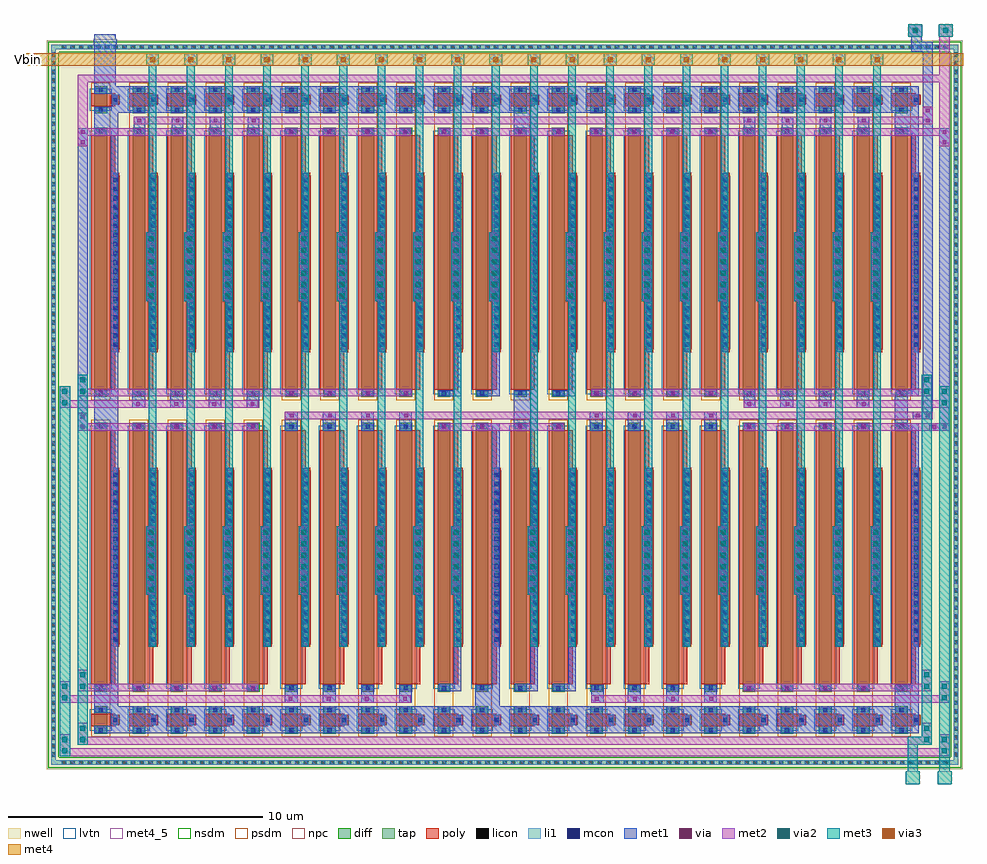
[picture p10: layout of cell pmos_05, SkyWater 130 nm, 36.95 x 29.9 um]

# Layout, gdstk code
from math import pi, radians
import gdstk
lib = gdstk.Library(unit=1e-6, precision=1e-09)
def R(c, l, rs):  # rectangles x0, y0, x1, y1
    for r in rs: c.add(gdstk.rectangle(r[:2], r[2:], *l))
def A(c, l, x, y, w, h, nx, ny, dx, dy):  # array of equal rectangles
    R(c, l, [(x+i*dx, y+j*dy, x+i*dx+w, y+j*dy+h) for i in range(nx) for j in range(ny)])
nwell = (64, 20)
diff = (65, 20)
tap = (65, 44)
poly = (66, 20)
licon = (66, 44)
li1 = (67, 20)
mcon = (67, 44)
met1 = (68, 20)
via = (68, 44)
met2 = (69, 20)
via2 = (69, 44)
met3 = (70, 20)
via3 = (70, 44)
met4_5 = (71, 5)
met4 = (71, 20)
nsdm = (93, 44)
psdm = (94, 20)
npc = (95, 20)
lvtn = (125, 44)

sky130_fd_pr__pfet_01v8_ = lib.new_cell('sky130_fd_pr__pfet_01v8_lvt_RSMGKB')
R(sky130_fd_pr__pfet_01v8_, nwell, [(-0.72,-0.74,0.72,0.57)])
R(sky130_fd_pr__pfet_01v8_, diff, [(-0.54,-0.43,0.54,0.07)])
R(sky130_fd_pr__pfet_01v8_, poly, [(-0.25,-0.56,0.25,0.39), (-0.2,0.39,0.2,0.555)])
R(sky130_fd_pr__pfet_01v8_, licon, [(-0.48,-0.265,-0.31,-0.095), (0.31,-0.265,0.48,-0.095), (-0.085,0.305,0.085,0.475)])
R(sky130_fd_pr__pfet_01v8_, li1, [(-0.48,-0.395,-0.31,0.035), (0.31,-0.395,0.48,0.035), (-0.2,0.305,0.2,0.475)])
R(sky130_fd_pr__pfet_01v8_, mcon, [(-0.48,-0.265,-0.31,-0.095), (0.31,-0.265,0.48,-0.095), (-0.085,0.305,0.085,0.475)])
R(sky130_fd_pr__pfet_01v8_, met1, [(-0.51,-0.375,-0.28,0.015), (0.28,-0.375,0.51,0.015), (-0.18,0.275,0.18,0.505)])
R(sky130_fd_pr__pfet_01v8_, psdm, [(-0.665,-0.555,0.665,0.195)])
R(sky130_fd_pr__pfet_01v8_, npc, [(-0.185,0.205,0.185,0.575)])
R(sky130_fd_pr__pfet_01v8_, lvtn, [(-0.43,-0.61,0.43,0.25)])

c_sky130_fd_pr__pfet_01v8_ = lib.new_cell('sky130_fd_pr__pfet_01v8_lvt_RSW4TG')
R(c_sky130_fd_pr__pfet_01v8_, nwell, [(-5.47,-0.74,5.47,0.57)])
R(c_sky130_fd_pr__pfet_01v8_, diff, [(-5.29,-0.43,5.29,0.07)])
R(c_sky130_fd_pr__pfet_01v8_, poly, [(-5,-0.56,5,0.39), (-3.525,0.39,3.525,0.555)])
A(c_sky130_fd_pr__pfet_01v8_, licon, -3.315, 0.305, 0.17, 0.17, 20, 1, 0.34, 0)
R(c_sky130_fd_pr__pfet_01v8_, licon, [(-5.23,-0.265,-5.06,-0.095), (5.06,-0.265,5.23,-0.095)])
R(c_sky130_fd_pr__pfet_01v8_, li1, [(-5.23,-0.395,-5.06,0.035), (5.06,-0.395,5.23,0.035), (-3.525,0.305,3.525,0.475)])
A(c_sky130_fd_pr__pfet_01v8_, mcon, -3.325, 0.305, 0.17, 0.17, 19, 1, 0.36, 0)
R(c_sky130_fd_pr__pfet_01v8_, mcon, [(-5.23,-0.265,-5.06,-0.095), (5.06,-0.265,5.23,-0.095)])
R(c_sky130_fd_pr__pfet_01v8_, met1, [(-5.26,-0.375,-5.03,0.015), (5.03,-0.375,5.26,0.015), (-3.505,0.275,3.505,0.505)])
R(c_sky130_fd_pr__pfet_01v8_, psdm, [(-5.415,-0.555,5.415,0.195)])
R(c_sky130_fd_pr__pfet_01v8_, npc, [(-3.415,0.205,3.415,0.575)])
R(c_sky130_fd_pr__pfet_01v8_, lvtn, [(-5.18,-0.61,5.18,0.25)])

pmos_05 = lib.new_cell('pmos_05')
R(pmos_05, nwell, [(32.235,-3.45,32.785,-2.95), (33.485,-3.45,34.035,-2.95), (-1.565,-2.865,34.465,25.815), (0.285,25.815,1.185,25.85), (32.335,25.95,32.885,26.45), (33.535,25.95,34.085,26.45)])
R(pmos_05, tap, [(-1.385,-2.685,34.285,-2.515), (-1.385,-2.515,-1.215,25.465), (34.115,-2.515,34.285,25.465), (-1.385,25.465,34.285,25.635)])
A(pmos_05, licon, -0.975, -2.685, 0.17, 0.17, 103, 2, 0.34, 28.15)
A(pmos_05, licon, -1.385, -2.38, 0.17, 0.17, 1, 82, 0, 0.34)
A(pmos_05, licon, 34.115, -2.38, 0.17, 0.17, 1, 82, 0, 0.34)
R(pmos_05, li1, [(-1.385,-2.685,34.285,-2.515), (-1.385,-2.515,-1.215,25.465), (34.115,-2.515,34.285,25.465), (-1.385,25.465,34.285,25.635)])
A(pmos_05, met1, 7.8, -0.25, 0.5, 0.7, 4, 1, 1.5, 0)
A(pmos_05, met1, 21.3, -0.25, 0.5, 0.7, 3, 1, 1.5, 0)
A(pmos_05, met1, 1.8, 0.2, 0.45, 0.3, 4, 2, 1.5, 10.25)
A(pmos_05, met1, 25.85, 0.2, 0.45, 0.3, 4, 2, 1.5, 10.25)
A(pmos_05, met1, 2.35, 4, 0.4, 2.7, 9, 1, 1.5, 0)
A(pmos_05, met1, 17.35, 4, 0.4, 2.7, 10, 1, 1.5, 0)
A(pmos_05, met1, 7.8, 10.45, 0.5, 0.75, 4, 1, 1.5, 0)
A(pmos_05, met1, 19.8, 10.45, 0.5, 0.75, 4, 1, 1.5, 0)
A(pmos_05, met1, 1.8, 11.35, 0.5, 0.75, 4, 1, 1.5, 0)
A(pmos_05, met1, 27.3, 11.35, 0.5, 0.75, 3, 1, 1.5, 0)
A(pmos_05, met1, 7.85, 11.8, 0.45, 0.3, 4, 1, 1.5, 0)
A(pmos_05, met1, 19.85, 11.8, 0.45, 0.3, 4, 1, 1.5, 0)
A(pmos_05, met1, 2.35, 15.55, 0.4, 2.7, 10, 1, 1.5, 0)
A(pmos_05, met1, 18.85, 15.55, 0.4, 2.7, 9, 1, 1.5, 0)
A(pmos_05, met1, 1.85, 22.05, 0.45, 0.75, 4, 1, 1.5, 0)
A(pmos_05, met1, 7.8, 22.05, 0.45, 0.3, 4, 1, 1.5, 0)
A(pmos_05, met1, 19.8, 22.05, 0.45, 0.3, 4, 1, 1.5, 0)
A(pmos_05, met1, 25.85, 22.05, 0.45, 0.75, 4, 1, 1.5, 0)
R(pmos_05, met1, [(0.3,-1.45,32.75,-1.15), (0.95,-1.15,32.75,-0.65), (0.3,-0.65,32.75,-0.4), (0.3,-0.4,1.25,0.45), (15.3,-0.4,16.25,0.45), (31.8,-0.4,32.75,0.45), (19.85,-0.25,20.35,0.45), (13.85,0.2,14.75,0.5), (16.85,0.2,17.75,0.5), (18.35,0.2,19.25,0.5), (0.95,0.45,1.25,10.45), (15.95,0.45,16.25,10.45), (32.45,0.45,32.75,10.5), (14.45,0.5,14.75,4), (17.45,0.5,17.75,4), (18.95,0.5,19.25,4), (-0.35,10.45,0.05,22.35), (0.3,10.45,1.25,11.85), (13.85,10.45,14.3,10.75), (15.35,10.45,16.25,10.75), (16.8,10.45,17.75,12.05), (18.35,10.45,18.8,10.75), (31.8,10.45,32.3,10.5), (33.15,10.45,33.95,10.75), (31.8,10.5,32.75,10.75), (31.8,10.75,32.3,11.8), (33.55,10.75,33.95,22.35), (32.5,10.9,33.3,11.2), (32.9,11.2,33.3,25.35), (25.85,11.35,26.3,12.1), (13.85,11.8,14.75,12.05), (15.35,11.8,16.25,12.05), (18.35,11.8,19.25,12.05), (31.8,11.8,32.75,11.85), (0.35,11.85,1.25,12.05), (31.85,11.85,32.75,12.05), (0.95,12.05,1.25,22.05), (14.45,12.05,14.75,15.55), (15.95,12.05,16.25,15.55), (17.45,12.05,17.75,22.05), (18.95,12.05,19.25,15.55), (32.45,12.05,32.75,22.05), (0.3,22.05,1.25,22.95), (13.85,22.05,14.3,22.35), (15.35,22.05,15.8,22.35), (16.85,22.05,17.75,22.1), (18.35,22.05,18.8,22.35), (31.8,22.05,32.75,22.95), (16.8,22.1,17.75,22.95), (0.3,22.95,32.75,23.2), (1,23.2,32.75,23.7), (0.3,23.7,32.75,24), (0.3,24,1.15,25.65), (32.45,25.35,33.3,25.75), (0.285,25.65,1.185,25.85), (32.45,25.75,32.85,25.95), (0.3,25.85,1.15,26.05), (32.335,25.95,32.885,26.45)])
A(pmos_05, via, 7.95, -0.175, 0.15, 0.15, 4, 2, 1.5, 22.3)
A(pmos_05, via, 20, -0.175, 0.15, 0.15, 4, 2, 1.5, 11.15)
A(pmos_05, via, 1.95, 0.275, 0.15, 0.15, 4, 2, 1.5, 10.25)
A(pmos_05, via, 26, 0.275, 0.15, 0.15, 4, 2, 1.5, 10.25)
A(pmos_05, via, 2.475, 4.125, 0.15, 0.15, 9, 6, 1.5, 0.45)
A(pmos_05, via, 17.475, 4.125, 0.15, 0.15, 10, 6, 1.5, 0.45)
A(pmos_05, via, 14, 10.525, 0.15, 0.15, 4, 2, 1.5, 11.6)
A(pmos_05, via, 8, 10.975, 0.15, 0.15, 4, 2, 1.5, 0.9)
A(pmos_05, via, 1.95, 11.425, 0.15, 0.15, 4, 1, 1.5, 0)
A(pmos_05, via, 26, 11.425, 0.15, 0.15, 4, 2, 1.5, 11.15)
A(pmos_05, via, 20, 11.875, 0.15, 0.15, 4, 1, 1.5, 0)
A(pmos_05, via, 2.475, 15.675, 0.15, 0.15, 10, 6, 1.5, 0.45)
A(pmos_05, via, 18.975, 15.675, 0.15, 0.15, 9, 6, 1.5, 0.45)
A(pmos_05, via, 19.95, 22.125, 0.15, 0.15, 4, 1, 1.5, 0)
A(pmos_05, via, 2, 22.575, 0.15, 0.15, 4, 1, 1.5, 0)
R(pmos_05, via, [(-0.225,10.525,-0.075,10.675), (33.275,10.525,33.425,10.675), (33.675,10.525,33.825,10.675), (-0.225,10.925,-0.075,11.075), (32.625,10.975,32.775,11.125), (33.025,10.975,33.175,11.125), (-0.225,21.725,-0.075,21.875), (33.675,21.725,33.825,21.875), (-0.225,22.125,-0.075,22.275), (33.675,22.125,33.825,22.275), (33.025,22.575,33.175,22.725), (33.025,22.975,33.175,23.125), (32.535,26.125,32.685,26.275)])
A(pmos_05, met2, 2.35, 4, 0.4, 2.7, 9, 1, 1.5, 0)
A(pmos_05, met2, 17.35, 4, 0.4, 2.7, 10, 1, 1.5, 0)
A(pmos_05, met2, 2.35, 15.55, 0.4, 2.7, 10, 1, 1.5, 0)
A(pmos_05, met2, 18.85, 15.55, 0.4, 2.7, 9, 1, 1.5, 0)
R(pmos_05, met2, [(-1.05,-2.35,33.95,-2.05), (-1.05,-2.05,-0.65,-1.5), (33.55,-2.05,33.95,-1.5), (-0.35,-1.9,33.25,-1.6), (-0.35,-1.6,0.05,-1.05), (32.85,-1.6,33.25,-1.05), (-1.05,-0.25,12.75,0.05), (19.85,-0.25,33.95,0.05), (-1.05,0.05,-0.65,0.6), (33.55,0.05,33.95,0.6), (-0.35,0.2,6.75,0.5), (25.85,0.2,33.25,0.5), (-0.35,0.5,0.05,1.05), (32.85,0.5,33.25,1.05), (-0.35,10.45,6.75,10.75), (13.85,10.45,18.8,10.75), (25.85,10.45,33.95,10.75), (-0.35,10.75,0.05,11.15), (7.8,10.9,33.3,11.2), (-1.05,11.35,6.75,11.65), (25.85,11.35,33.95,11.65), (-1.05,11.65,-0.65,12.2), (33.55,11.65,33.95,12.2), (-0.35,11.8,12.8,12.1), (19.85,11.8,33.25,12.1), (-0.35,12.1,0.05,12.65), (32.85,12.1,33.25,12.65), (-0.35,21.65,0.05,22.05), (33.55,21.65,33.95,22.05), (-0.35,22.05,12.75,22.35), (13.85,22.05,18.8,22.35), (19.8,22.05,33.95,22.35), (-0.35,22.35,0.05,24.15), (33.55,22.35,33.95,24.15), (1.85,22.5,33.3,22.8), (32.9,22.8,33.3,23.2), (-0.35,24.15,33.95,24.45), (33.55,24.45,33.95,25.95), (32.335,25.95,32.885,26.45), (33.535,25.95,34.085,26.45)])
A(pmos_05, via2, 2.45, 4.1, 0.2, 0.2, 9, 6, 1.5, 0.45)
A(pmos_05, via2, 17.45, 4.1, 0.2, 0.2, 10, 6, 1.5, 0.45)
A(pmos_05, via2, 2.45, 15.65, 0.2, 0.2, 10, 6, 1.5, 0.45)
A(pmos_05, via2, 18.95, 15.65, 0.2, 0.2, 9, 6, 1.5, 0.45)
R(pmos_05, via2, [(-0.95,-2.25,-0.75,-2.05), (33.65,-2.25,33.85,-2.05), (-0.95,-1.8,-0.75,-1.6), (-0.25,-1.8,-0.05,-1.6), (32.95,-1.8,33.15,-1.6), (33.65,-1.8,33.85,-1.6), (-0.25,-1.35,-0.05,-1.15), (32.95,-1.35,33.15,-1.15), (-0.95,-0.15,-0.75,0.05), (33.65,-0.15,33.85,0.05), (-0.95,0.3,-0.75,0.5), (-0.25,0.3,-0.05,0.5), (32.95,0.3,33.15,0.5), (33.65,0.3,33.85,0.5), (-0.25,0.75,-0.05,0.95), (32.95,0.75,33.15,0.95), (-0.95,11.45,-0.75,11.65), (33.65,11.45,33.85,11.65), (-0.95,11.9,-0.75,12.1), (-0.25,11.9,-0.05,12.1), (32.95,11.9,33.15,12.1), (33.65,11.9,33.85,12.1), (-0.25,12.35,-0.05,12.55), (32.95,12.35,33.15,12.55), (32.51,26.1,32.71,26.3), (33.71,26.1,33.91,26.3)])
A(pmos_05, met3, 2.45, 1.95, 0.3, 2.05, 9, 1, 1.5, 0)
A(pmos_05, met3, 17.45, 1.95, 0.3, 2.05, 10, 1, 1.5, 0)
A(pmos_05, met3, 2.35, 4, 0.4, 2.7, 9, 1, 1.5, 0)
A(pmos_05, met3, 17.35, 4, 0.4, 2.7, 10, 1, 1.5, 0)
A(pmos_05, met3, 2.45, 6.7, 0.3, 8.85, 9, 1, 1.5, 0)
A(pmos_05, met3, 18.95, 6.7, 0.3, 8.85, 9, 1, 1.5, 0)
A(pmos_05, met3, 2.35, 15.55, 0.4, 2.7, 10, 1, 1.5, 0)
A(pmos_05, met3, 18.85, 15.55, 0.4, 2.7, 9, 1, 1.5, 0)
A(pmos_05, met3, 2.45, 18.25, 0.3, 6.55, 10, 1, 1.5, 0)
A(pmos_05, met3, 18.95, 18.25, 0.3, 6.55, 9, 1, 1.5, 0)
A(pmos_05, met3, 2.35, 24.8, 0.5, 0.5, 20, 1, 1.5, 0)
R(pmos_05, met3, [(32.235,-3.45,32.785,-2.95), (33.485,-3.45,34.035,-2.95), (32.3,-2.95,32.7,-1.9), (33.55,-2.95,33.95,12.2), (-1.05,-2.35,-0.65,12.2), (-0.35,-1.9,0.05,12.65), (32.3,-1.9,33.25,-1.6), (32.85,-1.6,33.25,12.65), (17.45,6.7,17.75,24.8), (15.95,13.55,16.25,15.55), (32.335,25.95,32.885,26.45), (33.535,25.95,34.085,26.45)])
A(pmos_05, via3, 2.5, 24.95, 0.2, 0.2, 20, 1, 1.5, 0)
R(pmos_05, met4_5, [(-2.465,24.8,-2.065,25.3)])
R(pmos_05, met4, [(-2.465,24.8,34.485,25.3)])
R(pmos_05, nsdm, [(-1.51,-2.81,34.41,-2.39), (-1.51,-2.39,-1.09,25.34), (33.99,-2.39,34.41,25.34), (-1.51,25.34,34.41,25.76)])
A(pmos_05, psdm, 0.185, -0.265, 0.75, 0.32, 22, 2, 1.5, 22.75)
pmos_05.add(gdstk.Reference(sky130_fd_pr__pfet_01v8_, (0.74,-0.93), rotation=pi/2, x_reflection=True))
pmos_05.add(gdstk.Reference(c_sky130_fd_pr__pfet_01v8_, (0.74,5.47), rotation=pi/2, x_reflection=True))
pmos_05.add(gdstk.Reference(sky130_fd_pr__pfet_01v8_, (2.24,-0.93), rotation=pi/2, x_reflection=True))
pmos_05.add(gdstk.Reference(c_sky130_fd_pr__pfet_01v8_, (2.24,5.47), rotation=pi/2, x_reflection=True))
pmos_05.add(gdstk.Reference(sky130_fd_pr__pfet_01v8_, (3.74,-0.93), rotation=pi/2, x_reflection=True))
pmos_05.add(gdstk.Reference(c_sky130_fd_pr__pfet_01v8_, (3.74,5.47), rotation=pi/2, x_reflection=True))
pmos_05.add(gdstk.Reference(sky130_fd_pr__pfet_01v8_, (5.24,-0.93), rotation=pi/2, x_reflection=True))
pmos_05.add(gdstk.Reference(c_sky130_fd_pr__pfet_01v8_, (5.24,5.47), rotation=pi/2, x_reflection=True))
pmos_05.add(gdstk.Reference(sky130_fd_pr__pfet_01v8_, (6.74,-0.93), rotation=pi/2, x_reflection=True))
pmos_05.add(gdstk.Reference(c_sky130_fd_pr__pfet_01v8_, (6.74,5.47), rotation=pi/2, x_reflection=True))
pmos_05.add(gdstk.Reference(sky130_fd_pr__pfet_01v8_, (8.24,-0.93), rotation=pi/2, x_reflection=True))
pmos_05.add(gdstk.Reference(c_sky130_fd_pr__pfet_01v8_, (8.24,5.47), rotation=pi/2, x_reflection=True))
pmos_05.add(gdstk.Reference(sky130_fd_pr__pfet_01v8_, (9.74,-0.93), rotation=pi/2, x_reflection=True))
pmos_05.add(gdstk.Reference(c_sky130_fd_pr__pfet_01v8_, (9.74,5.47), rotation=pi/2, x_reflection=True))
pmos_05.add(gdstk.Reference(sky130_fd_pr__pfet_01v8_, (11.24,-0.93), rotation=pi/2, x_reflection=True))
pmos_05.add(gdstk.Reference(c_sky130_fd_pr__pfet_01v8_, (11.24,5.47), rotation=pi/2, x_reflection=True))
pmos_05.add(gdstk.Reference(sky130_fd_pr__pfet_01v8_, (12.74,-0.93), rotation=pi/2, x_reflection=True))
pmos_05.add(gdstk.Reference(c_sky130_fd_pr__pfet_01v8_, (12.74,5.47), rotation=pi/2, x_reflection=True))
pmos_05.add(gdstk.Reference(sky130_fd_pr__pfet_01v8_, (14.24,-0.93), rotation=pi/2, x_reflection=True))
pmos_05.add(gdstk.Reference(c_sky130_fd_pr__pfet_01v8_, (14.24,5.47), rotation=pi/2, x_reflection=True))
pmos_05.add(gdstk.Reference(sky130_fd_pr__pfet_01v8_, (15.74,-0.93), rotation=pi/2, x_reflection=True))
pmos_05.add(gdstk.Reference(c_sky130_fd_pr__pfet_01v8_, (15.74,5.47), rotation=pi/2, x_reflection=True))
pmos_05.add(gdstk.Reference(sky130_fd_pr__pfet_01v8_, (17.24,-0.93), rotation=pi/2, x_reflection=True))
pmos_05.add(gdstk.Reference(c_sky130_fd_pr__pfet_01v8_, (17.24,5.47), rotation=pi/2, x_reflection=True))
pmos_05.add(gdstk.Reference(sky130_fd_pr__pfet_01v8_, (18.74,-0.93), rotation=pi/2, x_reflection=True))
pmos_05.add(gdstk.Reference(c_sky130_fd_pr__pfet_01v8_, (18.74,5.47), rotation=pi/2, x_reflection=True))
pmos_05.add(gdstk.Reference(sky130_fd_pr__pfet_01v8_, (20.24,-0.93), rotation=pi/2, x_reflection=True))
pmos_05.add(gdstk.Reference(c_sky130_fd_pr__pfet_01v8_, (20.24,5.47), rotation=pi/2, x_reflection=True))
pmos_05.add(gdstk.Reference(sky130_fd_pr__pfet_01v8_, (21.74,-0.93), rotation=pi/2, x_reflection=True))
pmos_05.add(gdstk.Reference(c_sky130_fd_pr__pfet_01v8_, (21.74,5.47), rotation=pi/2, x_reflection=True))
pmos_05.add(gdstk.Reference(sky130_fd_pr__pfet_01v8_, (23.24,-0.93), rotation=pi/2, x_reflection=True))
pmos_05.add(gdstk.Reference(c_sky130_fd_pr__pfet_01v8_, (23.24,5.47), rotation=pi/2, x_reflection=True))
pmos_05.add(gdstk.Reference(sky130_fd_pr__pfet_01v8_, (24.74,-0.93), rotation=pi/2, x_reflection=True))
pmos_05.add(gdstk.Reference(c_sky130_fd_pr__pfet_01v8_, (24.74,5.47), rotation=pi/2, x_reflection=True))
pmos_05.add(gdstk.Reference(sky130_fd_pr__pfet_01v8_, (26.24,-0.93), rotation=pi/2, x_reflection=True))
pmos_05.add(gdstk.Reference(c_sky130_fd_pr__pfet_01v8_, (26.24,5.47), rotation=pi/2, x_reflection=True))
pmos_05.add(gdstk.Reference(sky130_fd_pr__pfet_01v8_, (27.74,-0.93), rotation=pi/2, x_reflection=True))
pmos_05.add(gdstk.Reference(c_sky130_fd_pr__pfet_01v8_, (27.74,5.47), rotation=pi/2, x_reflection=True))
pmos_05.add(gdstk.Reference(sky130_fd_pr__pfet_01v8_, (29.24,-0.93), rotation=pi/2, x_reflection=True))
pmos_05.add(gdstk.Reference(c_sky130_fd_pr__pfet_01v8_, (29.24,5.47), rotation=pi/2, x_reflection=True))
pmos_05.add(gdstk.Reference(sky130_fd_pr__pfet_01v8_, (30.74,-0.93), rotation=pi/2, x_reflection=True))
pmos_05.add(gdstk.Reference(c_sky130_fd_pr__pfet_01v8_, (30.74,5.47), rotation=pi/2, x_reflection=True))
pmos_05.add(gdstk.Reference(sky130_fd_pr__pfet_01v8_, (32.24,-0.93), rotation=pi/2, x_reflection=True))
pmos_05.add(gdstk.Reference(c_sky130_fd_pr__pfet_01v8_, (32.24,5.47), rotation=pi/2, x_reflection=True))
pmos_05.add(gdstk.Reference(c_sky130_fd_pr__pfet_01v8_, (0.74,17.07), rotation=pi/2, x_reflection=True))
pmos_05.add(gdstk.Reference(c_sky130_fd_pr__pfet_01v8_, (2.24,17.07), rotation=pi/2, x_reflection=True))
pmos_05.add(gdstk.Reference(c_sky130_fd_pr__pfet_01v8_, (3.74,17.07), rotation=pi/2, x_reflection=True))
pmos_05.add(gdstk.Reference(c_sky130_fd_pr__pfet_01v8_, (5.24,17.07), rotation=pi/2, x_reflection=True))
pmos_05.add(gdstk.Reference(c_sky130_fd_pr__pfet_01v8_, (6.74,17.07), rotation=pi/2, x_reflection=True))
pmos_05.add(gdstk.Reference(c_sky130_fd_pr__pfet_01v8_, (8.24,17.07), rotation=pi/2, x_reflection=True))
pmos_05.add(gdstk.Reference(c_sky130_fd_pr__pfet_01v8_, (9.74,17.07), rotation=pi/2, x_reflection=True))
pmos_05.add(gdstk.Reference(c_sky130_fd_pr__pfet_01v8_, (11.24,17.07), rotation=pi/2, x_reflection=True))
pmos_05.add(gdstk.Reference(c_sky130_fd_pr__pfet_01v8_, (12.74,17.07), rotation=pi/2, x_reflection=True))
pmos_05.add(gdstk.Reference(c_sky130_fd_pr__pfet_01v8_, (14.24,17.07), rotation=pi/2, x_reflection=True))
pmos_05.add(gdstk.Reference(c_sky130_fd_pr__pfet_01v8_, (15.74,17.07), rotation=pi/2, x_reflection=True))
pmos_05.add(gdstk.Reference(c_sky130_fd_pr__pfet_01v8_, (17.24,17.07), rotation=pi/2, x_reflection=True))
pmos_05.add(gdstk.Reference(c_sky130_fd_pr__pfet_01v8_, (18.74,17.07), rotation=pi/2, x_reflection=True))
pmos_05.add(gdstk.Reference(c_sky130_fd_pr__pfet_01v8_, (20.24,17.07), rotation=pi/2, x_reflection=True))
pmos_05.add(gdstk.Reference(c_sky130_fd_pr__pfet_01v8_, (21.74,17.07), rotation=pi/2, x_reflection=True))
pmos_05.add(gdstk.Reference(c_sky130_fd_pr__pfet_01v8_, (23.24,17.07), rotation=pi/2, x_reflection=True))
pmos_05.add(gdstk.Reference(c_sky130_fd_pr__pfet_01v8_, (24.74,17.07), rotation=pi/2, x_reflection=True))
pmos_05.add(gdstk.Reference(c_sky130_fd_pr__pfet_01v8_, (26.24,17.07), rotation=pi/2, x_reflection=True))
pmos_05.add(gdstk.Reference(c_sky130_fd_pr__pfet_01v8_, (27.74,17.07), rotation=pi/2, x_reflection=True))
pmos_05.add(gdstk.Reference(c_sky130_fd_pr__pfet_01v8_, (29.24,17.07), rotation=pi/2, x_reflection=True))
pmos_05.add(gdstk.Reference(c_sky130_fd_pr__pfet_01v8_, (30.74,17.07), rotation=pi/2, x_reflection=True))
pmos_05.add(gdstk.Reference(c_sky130_fd_pr__pfet_01v8_, (32.24,17.07), rotation=pi/2, x_reflection=True))
pmos_05.add(gdstk.Reference(sky130_fd_pr__pfet_01v8_, (0.74,23.47), rotation=pi/2, x_reflection=True))
pmos_05.add(gdstk.Reference(sky130_fd_pr__pfet_01v8_, (2.24,23.47), rotation=pi/2, x_reflection=True))
pmos_05.add(gdstk.Reference(sky130_fd_pr__pfet_01v8_, (3.74,23.47), rotation=pi/2, x_reflection=True))
pmos_05.add(gdstk.Reference(sky130_fd_pr__pfet_01v8_, (5.24,23.47), rotation=pi/2, x_reflection=True))
pmos_05.add(gdstk.Reference(sky130_fd_pr__pfet_01v8_, (6.74,23.47), rotation=pi/2, x_reflection=True))
pmos_05.add(gdstk.Reference(sky130_fd_pr__pfet_01v8_, (8.24,23.47), rotation=pi/2, x_reflection=True))
pmos_05.add(gdstk.Reference(sky130_fd_pr__pfet_01v8_, (9.74,23.47), rotation=pi/2, x_reflection=True))
pmos_05.add(gdstk.Reference(sky130_fd_pr__pfet_01v8_, (11.24,23.47), rotation=pi/2, x_reflection=True))
pmos_05.add(gdstk.Reference(sky130_fd_pr__pfet_01v8_, (12.74,23.47), rotation=pi/2, x_reflection=True))
pmos_05.add(gdstk.Reference(sky130_fd_pr__pfet_01v8_, (14.24,23.47), rotation=pi/2, x_reflection=True))
pmos_05.add(gdstk.Reference(sky130_fd_pr__pfet_01v8_, (15.74,23.47), rotation=pi/2, x_reflection=True))
pmos_05.add(gdstk.Reference(sky130_fd_pr__pfet_01v8_, (17.24,23.47), rotation=pi/2, x_reflection=True))
pmos_05.add(gdstk.Reference(sky130_fd_pr__pfet_01v8_, (18.74,23.47), rotation=pi/2, x_reflection=True))
pmos_05.add(gdstk.Reference(sky130_fd_pr__pfet_01v8_, (20.24,23.47), rotation=pi/2, x_reflection=True))
pmos_05.add(gdstk.Reference(sky130_fd_pr__pfet_01v8_, (21.74,23.47), rotation=pi/2, x_reflection=True))
pmos_05.add(gdstk.Reference(sky130_fd_pr__pfet_01v8_, (23.24,23.47), rotation=pi/2, x_reflection=True))
pmos_05.add(gdstk.Reference(sky130_fd_pr__pfet_01v8_, (24.74,23.47), rotation=pi/2, x_reflection=True))
pmos_05.add(gdstk.Reference(sky130_fd_pr__pfet_01v8_, (26.24,23.47), rotation=pi/2, x_reflection=True))
pmos_05.add(gdstk.Reference(sky130_fd_pr__pfet_01v8_, (27.74,23.47), rotation=pi/2, x_reflection=True))
pmos_05.add(gdstk.Reference(sky130_fd_pr__pfet_01v8_, (29.24,23.47), rotation=pi/2, x_reflection=True))
pmos_05.add(gdstk.Reference(sky130_fd_pr__pfet_01v8_, (30.74,23.47), rotation=pi/2, x_reflection=True))
pmos_05.add(gdstk.Reference(sky130_fd_pr__pfet_01v8_, (32.24,23.47), rotation=pi/2, x_reflection=True))
pmos_05.add(gdstk.Label('Vbin', (-2.265,25.05), layer=71, texttype=5))

lib.write_gds('pmos_05.gds')
